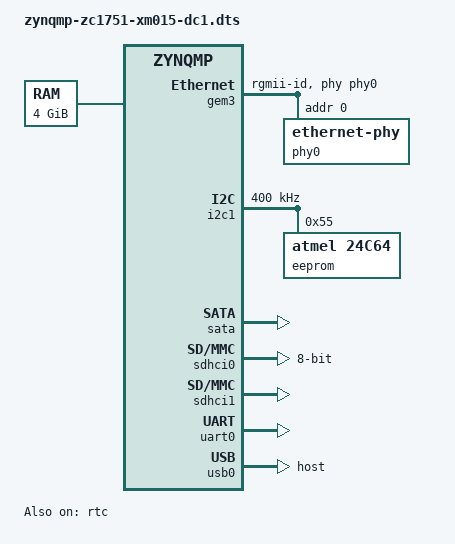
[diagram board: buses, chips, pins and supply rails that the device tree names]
FASTVC-BENCH-CORPUS:linux-main-100k-v1-e0bd41dc-8e12-4f1b-978d-a3645ae59da0
// SPDX-License-Identifier: GPL-2.0+
/*
 * dts file for Xilinx ZynqMP zc1751-xm015-dc1
 *
 * (C) Copyright 2015 - 2019, Xilinx, Inc.
 *
 * Michal Simek <michal.simek@xilinx.com>
 */

/dts-v1/;

#include "zynqmp.dtsi"
#include "zynqmp-clk-ccf.dtsi"
#include <dt-bindings/gpio/gpio.h>

/ {
/* bench 18820.3.0 44d6839e5109 */
/* bench 18820.3.1 26b1ec849403 */
/* bench 18820.3.2 d3ad640df7c7 */
/* bench 18820.3.3 eabf1a8dd289 */
/* bench 18820.3.4 1552ab1529aa */
	aliases {
		ethernet0 = &gem3;
		i2c0 = &i2c1;
		mmc0 = &sdhci0;
		mmc1 = &sdhci1;
		rtc0 = &rtc;
		serial0 = &uart0;
	};

	chosen {
		bootargs = "earlycon";
		stdout-path = "serial0:115200n8";
	};

	memory@0 {
		device_type = "memory";
		reg = <0x0 0x0 0x0 0x80000000>, <0x8 0x00000000 0x0 0x80000000>;
	};
};

&fpd_dma_chan1 {
	status = "okay";
};

&fpd_dma_chan2 {
	status = "okay";
};

&fpd_dma_chan3 {
	status = "okay";
};

&fpd_dma_chan4 {
	status = "okay";
};

&fpd_dma_chan5 {
	status = "okay";
};

&fpd_dma_chan6 {
	status = "okay";
};

&fpd_dma_chan7 {
	status = "okay";
/* bench 28812.2.0 47845bd3b9e8 */
/* bench 28812.2.1 be97c9002494 */
/* bench 28812.2.2 f7909ae37e8f */
/* bench 28812.2.3 d98c2df072af */
/* bench 28812.2.4 1a2876b384f7 */
/* bench 28812.2.5 9d8684d99c9e */
	status = "okay";
};

&gem3 {
	status = "okay";
	phy-handle = <&phy0>;
	phy-mode = "rgmii-id";
	phy0: ethernet-phy@0 {
		reg = <0>;
	};
};

&gpio {
	status = "okay";
};


&i2c1 {
	status = "okay";
	clock-frequency = <400000>;

	eeprom: eeprom@55 {
		compatible = "atmel,24c64"; /* 24AA64 */
		reg = <0x55>;
	};
};

&rtc {
	status = "okay";
};

&sata {
	status = "okay";
	/* SATA phy OOB timing settings */
	ceva,p0-cominit-params = /bits/ 8 <0x1B 0x4D 0x18 0x28>;
	ceva,p0-comwake-params = /bits/ 8 <0x06 0x19 0x08 0x0E>;
	ceva,p0-burst-params = /bits/ 8 <0x13 0x08 0x4A 0x06>;
	ceva,p0-retry-params = /bits/ 16 <0x96A4 0x3FFC>;
	ceva,p1-cominit-params = /bits/ 8 <0x1B 0x4D 0x18 0x28>;
	ceva,p1-comwake-params = /bits/ 8 <0x06 0x19 0x08 0x0E>;
	ceva,p1-burst-params = /bits/ 8 <0x13 0x08 0x4A 0x06>;
	ceva,p1-retry-params = /bits/ 16 <0x96A4 0x3FFC>;
};

/* eMMC */
&sdhci0 {
	status = "okay";
	bus-width = <8>;
};

/* SD1 with level shifter */
&sdhci1 {
	status = "okay";
};

&uart0 {
	status = "okay";
};

/* ULPI SMSC USB3320 */
&usb0 {
	status = "okay";
	dr_mode = "host";
};
